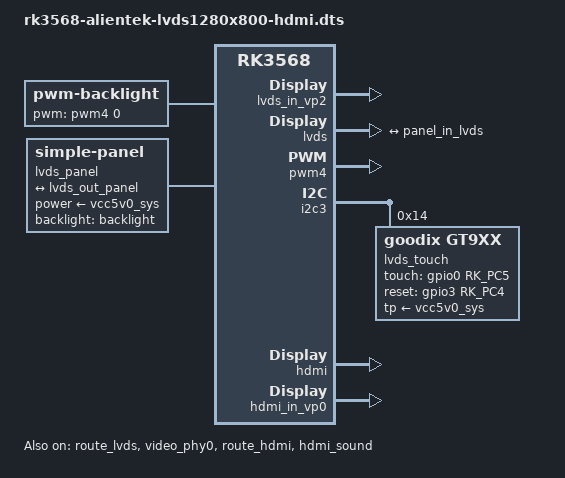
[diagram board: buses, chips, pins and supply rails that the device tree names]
// SPDX-License-Identifier: (GPL-2.0+ OR MIT)
/*
 * Copyright (c) 2021 Rockchip Electronics Co., Ltd.
 */

/dts-v1/;
#include "rk3568-alientek.dtsi"

/{
	backlight: backlight {
		status = "okay";
		compatible = "pwm-backlight";
		pwms = <&pwm4 0 25000 0>;
		brightness-levels = <
			  0  20  20  21  21  22  22  23
			 23  24  24  25  25  26  26  27
			 27  28  28  29  29  30  30  31
			 31  32  32  33  33  34  34  35
			 35  36  36  37  37  38  38  39
			 40  41  42  43  44  45  46  47
			 48  49  50  51  52  53  54  55
			 56  57  58  59  60  61  62  63
			 64  65  66  67  68  69  70  71
			 72  73  74  75  76  77  78  79
			 80  81  82  83  84  85  86  87
			 88  89  90  91  92  93  94  95
			 96  97  98  99 100 101 102 103
			104 105 106 107 108 109 110 111
			112 113 114 115 116 117 118 119
			120 121 122 123 124 125 126 127
			128 129 130 131 132 133 134 135
			136 137 138 139 140 141 142 143
			144 145 146 147 148 149 150 151
			152 153 154 155 156 157 158 159
			160 161 162 163 164 165 166 167
			168 169 170 171 172 173 174 175
			176 177 178 179 180 181 182 183
			184 185 186 187 188 189 190 191
			192 193 194 195 196 197 198 199
			200 201 202 203 204 205 206 207
			208 209 210 211 212 213 214 215
			216 217 218 219 220 221 222 223
			224 225 226 227 228 229 230 231
			232 233 234 235 236 237 238 239
			240 241 242 243 244 245 246 247
			248 249 250 251 252 253 254 255
		>;
		default-brightness-level = <255>;
	};

	lvds_panel: lvds-panel {
		compatible = "simple-panel";
		backlight = <&backlight>;
		power-supply = <&vcc5v0_sys>;
		enable-delay-ms = <20>;
		prepare-delay-ms = <20>;
		unprepare-delay-ms = <20>;
		disable-delay-ms = <20>;
		bus-format = <MEDIA_BUS_FMT_RGB888_1X7X4_SPWG>;
		width-mm = <230>;
		height-mm = <150>;

		display-timings {
			native-mode = <&lvds_timing0>;

			lvds_timing0: timing0 {
				clock-frequency = <71100000>;
				hactive = <1280>;
				vactive = <800>;
				hback-porch = <80>;
				hfront-porch = <70>;
				vback-porch = <10>;
				vfront-porch = <10>;
				hsync-len = <10>;
				vsync-len = <3>;
				hsync-active = <0>;
				vsync-active = <0>;
				de-active = <0>;
				pixelclk-active = <0>;
			};
		};

		ports {
			#address-cells = <1>;
			#size-cells = <0>;

			port@0 {
				reg = <0>;
				panel_in_lvds: endpoint {
					remote-endpoint = <&lvds_out_panel>;
				};
			};
		};
	};
};

//LVDS屏幕--VP2
&lvds_in_vp2 {
	status = "okay";
};

&route_lvds {
	status = "okay";
	connect = <&vp2_out_lvds>;
};

&video_phy0 {
	status = "okay";
};

&lvds {
	status = "okay";

	ports {
		#address-cells = <1>;
		#size-cells = <0>;

		port@1 {
			reg = <1>;
			lvds_out_panel: endpoint {
				remote-endpoint = <&panel_in_lvds>;
			};
		};
	};
};

&lvds_panel {
	status = "okay";
};

&pwm4 {
	status = "okay";
};

&i2c3 {
	status = "okay";
	lvds_touch: gt911@14 {
		compatible = "goodix,gt9xx";
		reg = <0x14>;
		pinctrl-names = "default";
		pinctrl-0 = <&lvds_touch_gpio>;
		touch-gpio = <&gpio0 RK_PC5 IRQ_TYPE_LEVEL_LOW>;
		reset-gpio = <&gpio3 RK_PC4 GPIO_ACTIVE_HIGH>;
		max-x = <1280>;
		max-y = <800>;
		tp-size = <911>;
		tp-supply = <&vcc5v0_sys>;
		wakeup-source;
		goodix-ts-name = "lvds_ts_gt9xx";
		status = "okay";
	};
};

//HDMI屏幕--VP0
&hdmi {
	status = "okay";
};

&hdmi_in_vp0 {
	status = "okay";
};

&route_hdmi {
	connect = <&vp0_out_hdmi>;
	status = "okay";
};

&hdmi_sound {
	status = "okay";
};

&pinctrl {
	lcd {
		lvds_touch_gpio: lvds-touch-gpio {
			rockchip,pins =
				<0 RK_PC5 RK_FUNC_GPIO &pcfg_pull_up>,
				<3 RK_PC4 RK_FUNC_GPIO &pcfg_pull_none>;
		};
	};
};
